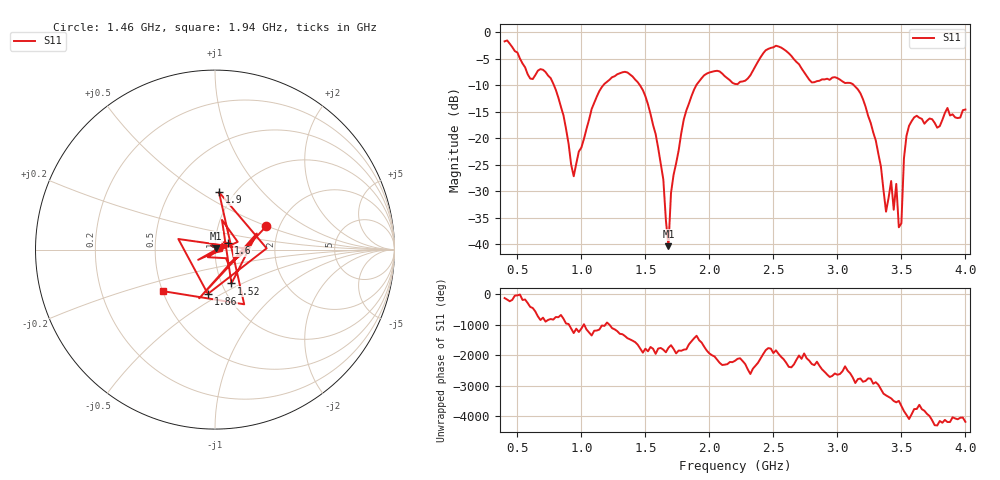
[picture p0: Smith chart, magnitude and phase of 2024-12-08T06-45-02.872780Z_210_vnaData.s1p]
!Created with skrf (http://scikit-rf.org).
# Hz S RI R 50.0
!freq ReS11 ImS11
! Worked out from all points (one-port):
!   181 points, 400 MHz to 4 GHz, reference 50 ohm
!   lowest |S11| = -40.3 dB at 1.68 GHz (marker M1), VSWR 1.02, Z = 50.6 + j0.764 ohm
!   |S11| at or under -10 dB: 785.5 MHz to 1.171 GHz (385.1 MHz wide, 39.4 % of centre); 1.457 GHz to 1.897 GHz (439.8 MHz wide, 26.2 % of centre); 3.13 GHz to end of sweep
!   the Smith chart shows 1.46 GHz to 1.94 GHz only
!   S11 on the Smith chart (normalised r, x): 1.46 GHz: 1.71, +0.49; 1.52 GHz: 1.11, -0.44; 1.6 GHz: 1.15, +0.08; 1.86 GHz: 0.82, -0.43; 1.9 GHz: 0.85, +0.60; 1.94 GHz: 0.50, -0.27
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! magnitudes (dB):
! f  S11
! 400 MHz  -1.7
! 760 MHz  -8.6
! 860 MHz  -15.7
! 940 MHz  -27.1
! 1.12 GHz  -12.1
! 1.3 GHz  -7.7
! 1.46 GHz  -10.1
! 1.52 GHz  -13.6
! 1.6 GHz  -21.8
! 1.68 GHz  -40.3
! 1.7 GHz  -30.3
! 1.76 GHz  -22.2
! 1.86 GHz  -12.0
! 1.9 GHz  -9.9
! 1.94 GHz  -8.6
! 2.2 GHz  -9.7
! 2.46 GHz  -3.1
! 2.66 GHz  -5.1
! 3.1 GHz  -9.5
! 3.3 GHz  -20.4
! 3.38 GHz  -33.8
! 3.44 GHz  -33.4
! 3.46 GHz  -28.6
! 3.48 GHz  -36.8
! 3.5 GHz  -36.0
! 3.52 GHz  -23.7
! 3.56 GHz  -17.6
! 4 GHz  -14.6
